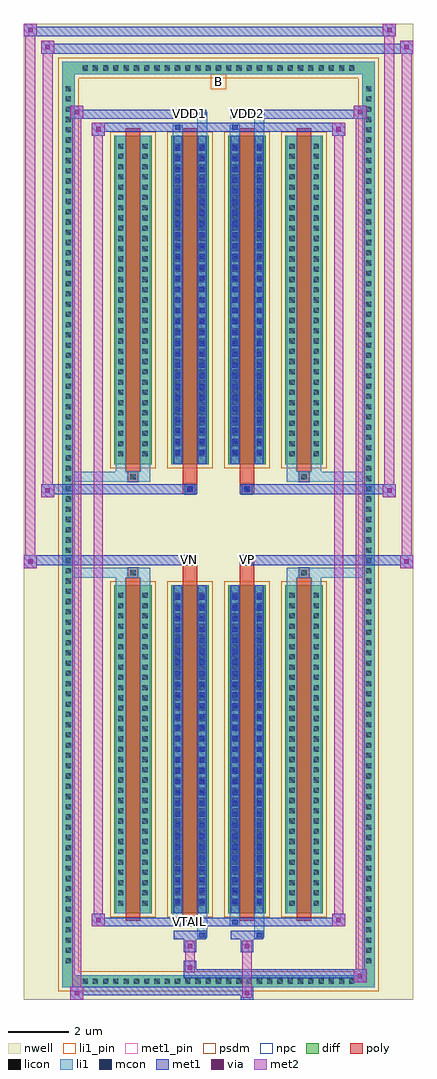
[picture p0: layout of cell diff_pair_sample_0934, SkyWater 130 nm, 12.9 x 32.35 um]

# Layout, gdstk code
import gdstk
lib = gdstk.Library(unit=1e-6, precision=5e-09)
def R(c, l, rs):  # rectangles x0, y0, x1, y1
    for r in rs: c.add(gdstk.rectangle(r[:2], r[2:], *l))
def A(c, l, x, y, w, h, nx, ny, dx, dy):  # array of equal rectangles
    R(c, l, [(x+i*dx, y+j*dy, x+i*dx+w, y+j*dy+h) for i in range(nx) for j in range(ny)])
def P(c, l, *ps):  # polygons
    for p in ps: c.add(gdstk.Polygon(p, *l))
nwell = (64, 20)
diff = (65, 20)
poly = (66, 20)
licon = (66, 44)
li1_pin = (67, 16)
li1 = (67, 20)
mcon = (67, 44)
met1_pin = (68, 16)
met1 = (68, 20)
via = (68, 44)
met2 = (69, 20)
psdm = (94, 20)
npc = (95, 20)

diff_pair_sample_0934 = lib.new_cell('diff_pair_sample_0934')
R(diff_pair_sample_0934, nwell, [(-6.45,-15.74,6.45,16.61), (-3.77,-13.93,-0.01,-0.815), (0.01,-13.93,3.77,-0.815), (-3.77,0.815,-0.01,13.93), (0.01,0.815,3.77,13.93)])
A(diff_pair_sample_0934, diff, -4.625, -15.34, 0.41, 0.41, 27, 2, 0.34, 30.27)
A(diff_pair_sample_0934, diff, -5.18, -14.655, 0.41, 0.41, 1, 86, 0, 0.34)
A(diff_pair_sample_0934, diff, 4.77, -14.655, 0.41, 0.41, 1, 86, 0, 0.34)
A(diff_pair_sample_0934, diff, -3.46, -12.885, 1.25, 10.88, 4, 2, 1.89, 14.89)
R(diff_pair_sample_0934, diff, [(-4.625,-15.34,4.625,-14.93), (-5.18,-14.655,-4.77,14.655), (4.77,-14.655,5.18,14.655), (-4.625,14.93,4.625,15.34)])
P(diff_pair_sample_0934, diff, [(5.18,15.34),(-5.18,15.34),(-5.18,-14.93),(-4.77,-14.93),(-4.77,14.93),(4.77,14.93),(4.77,-14.93),(-4.77,-14.93),(-5.18,-14.93),(-5.18,-15.34),(5.18,-15.34)])
A(diff_pair_sample_0934, poly, -3.07, -13.135, 0.47, 11.38, 4, 2, 1.89, 14.89)
R(diff_pair_sample_0934, poly, [(-3,-1.755,-2.67,-1.425), (-3,-1.755,-2.67,-1.425), (-1.18,-1.755,-0.71,-1.345), (0.71,-1.755,1.18,-1.345), (2.67,-1.755,3,-1.425), (2.67,-1.755,3,-1.425), (-1.18,-1.345,-0.71,-1.015), (-1.11,-1.345,-0.78,-1.015), (0.71,-1.345,1.18,-1.015), (0.78,-1.345,1.11,-1.015), (-1.18,1.015,-0.71,1.345), (-1.11,1.015,-0.78,1.345), (0.71,1.015,1.18,1.345), (0.78,1.015,1.11,1.345), (-1.18,1.345,-0.71,1.755), (0.71,1.345,1.18,1.755), (-3,1.425,-2.67,1.755), (-3,1.425,-2.67,1.755), (2.67,1.425,3,1.755), (2.67,1.425,3,1.755)])
A(diff_pair_sample_0934, licon, -4.505, -15.22, 0.17, 0.17, 27, 2, 0.34, 30.27)
A(diff_pair_sample_0934, licon, -5.06, -14.535, 0.17, 0.17, 1, 86, 0, 0.34)
A(diff_pair_sample_0934, licon, 4.89, -14.535, 0.17, 0.17, 1, 86, 0, 0.34)
A(diff_pair_sample_0934, licon, -3.32, -12.63, 0.17, 0.17, 1, 31, 0, 0.34)
A(diff_pair_sample_0934, licon, -2.52, -12.63, 0.17, 0.17, 1, 31, 0, 0.34)
A(diff_pair_sample_0934, licon, -1.43, -12.63, 0.17, 0.17, 1, 31, 0, 0.34)
A(diff_pair_sample_0934, licon, -0.63, -12.63, 0.17, 0.17, 1, 31, 0, 0.34)
A(diff_pair_sample_0934, licon, 0.46, -12.63, 0.17, 0.17, 1, 31, 0, 0.34)
A(diff_pair_sample_0934, licon, 1.26, -12.63, 0.17, 0.17, 1, 31, 0, 0.34)
A(diff_pair_sample_0934, licon, 2.35, -12.63, 0.17, 0.17, 1, 31, 0, 0.34)
A(diff_pair_sample_0934, licon, 3.15, -12.63, 0.17, 0.17, 1, 31, 0, 0.34)
A(diff_pair_sample_0934, licon, -3.32, 2.26, 0.17, 0.17, 1, 31, 0, 0.34)
A(diff_pair_sample_0934, licon, -2.52, 2.26, 0.17, 0.17, 1, 31, 0, 0.34)
A(diff_pair_sample_0934, licon, -1.43, 2.26, 0.17, 0.17, 1, 31, 0, 0.34)
A(diff_pair_sample_0934, licon, -0.63, 2.26, 0.17, 0.17, 1, 31, 0, 0.34)
A(diff_pair_sample_0934, licon, 0.46, 2.26, 0.17, 0.17, 1, 31, 0, 0.34)
A(diff_pair_sample_0934, licon, 1.26, 2.26, 0.17, 0.17, 1, 31, 0, 0.34)
A(diff_pair_sample_0934, licon, 2.35, 2.26, 0.17, 0.17, 1, 31, 0, 0.34)
A(diff_pair_sample_0934, licon, 3.15, 2.26, 0.17, 0.17, 1, 31, 0, 0.34)
R(diff_pair_sample_0934, licon, [(-2.92,-1.675,-2.75,-1.505), (2.75,-1.675,2.92,-1.505), (-1.03,-1.265,-0.86,-1.095), (0.86,-1.265,1.03,-1.095), (-1.03,1.095,-0.86,1.265), (0.86,1.095,1.03,1.265), (-2.92,1.505,-2.75,1.675), (2.75,1.505,2.92,1.675)])
R(diff_pair_sample_0934, li1_pin, [(-0.25,14.43,0.25,14.93)])
A(diff_pair_sample_0934, li1, -4.585, -15.3, 0.33, 0.33, 27, 2, 0.34, 30.27)
A(diff_pair_sample_0934, li1, -5.14, -14.615, 0.33, 0.33, 1, 86, 0, 0.34)
A(diff_pair_sample_0934, li1, 4.81, -14.615, 0.33, 0.33, 1, 86, 0, 0.34)
A(diff_pair_sample_0934, li1, -3.4, -12.71, 0.33, 0.33, 1, 31, 0, 0.34)
A(diff_pair_sample_0934, li1, -2.6, -12.71, 0.33, 0.33, 1, 31, 0, 0.34)
A(diff_pair_sample_0934, li1, -1.51, -12.71, 0.33, 0.33, 1, 31, 0, 0.34)
A(diff_pair_sample_0934, li1, -0.71, -12.71, 0.33, 0.33, 1, 31, 0, 0.34)
A(diff_pair_sample_0934, li1, 0.38, -12.71, 0.33, 0.33, 1, 31, 0, 0.34)
A(diff_pair_sample_0934, li1, 1.18, -12.71, 0.33, 0.33, 1, 31, 0, 0.34)
A(diff_pair_sample_0934, li1, 2.27, -12.71, 0.33, 0.33, 1, 31, 0, 0.34)
A(diff_pair_sample_0934, li1, 3.07, -12.71, 0.33, 0.33, 1, 31, 0, 0.34)
A(diff_pair_sample_0934, li1, -1.43, -12.57, 0.17, 0.17, 1, 29, 0, 0.36)
A(diff_pair_sample_0934, li1, -0.63, -12.57, 0.17, 0.17, 1, 29, 0, 0.36)
A(diff_pair_sample_0934, li1, 0.46, -12.57, 0.17, 0.17, 1, 29, 0, 0.36)
A(diff_pair_sample_0934, li1, 1.26, -12.57, 0.17, 0.17, 1, 29, 0, 0.36)
A(diff_pair_sample_0934, li1, -3.4, 2.18, 0.33, 0.33, 1, 31, 0, 0.34)
A(diff_pair_sample_0934, li1, -2.6, 2.18, 0.33, 0.33, 1, 31, 0, 0.34)
A(diff_pair_sample_0934, li1, -1.51, 2.18, 0.33, 0.33, 1, 31, 0, 0.34)
A(diff_pair_sample_0934, li1, -0.71, 2.18, 0.33, 0.33, 1, 31, 0, 0.34)
A(diff_pair_sample_0934, li1, 0.38, 2.18, 0.33, 0.33, 1, 31, 0, 0.34)
A(diff_pair_sample_0934, li1, 1.18, 2.18, 0.33, 0.33, 1, 31, 0, 0.34)
A(diff_pair_sample_0934, li1, 2.27, 2.18, 0.33, 0.33, 1, 31, 0, 0.34)
A(diff_pair_sample_0934, li1, 3.07, 2.18, 0.33, 0.33, 1, 31, 0, 0.34)
A(diff_pair_sample_0934, li1, -1.43, 2.32, 0.17, 0.17, 1, 29, 0, 0.36)
A(diff_pair_sample_0934, li1, -0.63, 2.32, 0.17, 0.17, 1, 29, 0, 0.36)
A(diff_pair_sample_0934, li1, 0.46, 2.32, 0.17, 0.17, 1, 29, 0, 0.36)
A(diff_pair_sample_0934, li1, 1.26, 2.32, 0.17, 0.17, 1, 29, 0, 0.36)
R(diff_pair_sample_0934, li1, [(-5.18,-15.34,-4.77,-14.93), (-5.18,-15.34,-4.77,-14.93), (-4.77,-15.34,4.77,-14.93), (4.77,-15.34,5.18,-14.93), (4.77,-15.34,5.18,-14.93), (-5.18,-14.93,-4.77,14.93), (4.77,-14.93,5.18,14.93), (-0.71,-13.69,-0.38,-12.885), (-0.63,-13.69,-0.46,-13.52), (1.18,-13.69,1.51,-12.885), (1.26,-13.69,1.43,-13.52), (-1.51,-13.26,-1.18,-12.885), (-1.43,-13.26,-1.26,-13.09), (0.38,-13.26,0.71,-12.885), (0.46,-13.26,0.63,-13.09), (-3.4,-12.885,-3.07,-2.005), (-2.6,-12.885,-2.27,-2.005), (-1.51,-12.885,-1.18,-2.005), (-0.71,-12.885,-0.38,-2.005), (0.38,-12.885,0.71,-2.005), (1.18,-12.885,1.51,-2.005), (2.27,-12.885,2.6,-2.005), (3.07,-12.885,3.4,-2.005), (-1.43,-12.57,-1.26,-2.32), (-0.63,-12.57,-0.46,-2.32), (0.46,-12.57,0.63,-2.32), (1.26,-12.57,1.43,-2.32), (-3.4,-2.005,-3.07,-1.425), (-2.6,-2.005,-2.27,-1.425), (2.27,-2.005,2.6,-1.425), (3.07,-2.005,3.4,-1.425), (-5.18,-1.755,-3,-1.425), (-3.4,-1.755,-3,-1.425), (-3,-1.755,-2.67,-1.425), (-2.67,-1.755,-2.27,-1.425), (2.27,-1.755,2.67,-1.425), (2.67,-1.755,3,-1.425), (2.67,-1.755,5.18,-1.425), (3,-1.755,3.4,-1.425), (-1.11,-1.345,-0.78,-1.015), (0.78,-1.345,1.11,-1.015), (-1.11,1.015,-0.78,1.345), (0.78,1.015,1.11,1.345), (-5.18,1.425,-3,1.755), (-3.4,1.425,-3,1.755), (-3.4,1.425,-3.07,2.005), (-3,1.425,-2.67,1.755), (-2.67,1.425,-2.27,1.755), (-2.6,1.425,-2.27,2.005), (2.27,1.425,2.67,1.755), (2.27,1.425,2.6,2.005), (2.67,1.425,3,1.755), (2.67,1.425,5.18,1.755), (3,1.425,3.4,1.755), (3.07,1.425,3.4,2.005), (-3.4,2.005,-3.07,12.885), (-2.6,2.005,-2.27,12.885), (-1.51,2.005,-1.18,12.885), (-0.71,2.005,-0.38,12.885), (0.38,2.005,0.71,12.885), (1.18,2.005,1.51,12.885), (2.27,2.005,2.6,12.885), (3.07,2.005,3.4,12.885), (-1.43,2.32,-1.26,12.57), (-0.63,2.32,-0.46,12.57), (0.46,2.32,0.63,12.57), (1.26,2.32,1.43,12.57), (-1.51,12.885,-1.18,13.26), (-0.71,12.885,-0.38,13.69), (0.38,12.885,0.71,13.26), (1.18,12.885,1.51,13.69), (-1.43,13.09,-1.26,13.26), (0.46,13.09,0.63,13.26), (-0.63,13.52,-0.46,13.69), (1.26,13.52,1.43,13.69), (-5.18,14.93,-4.77,15.34), (-5.18,14.93,-4.77,15.34), (-4.77,14.93,4.77,15.34), (4.77,14.93,5.18,15.34), (4.77,14.93,5.18,15.34)])
A(diff_pair_sample_0934, mcon, -1.43, -12.57, 0.17, 0.17, 1, 29, 0, 0.36)
A(diff_pair_sample_0934, mcon, -0.63, -12.57, 0.17, 0.17, 1, 29, 0, 0.36)
A(diff_pair_sample_0934, mcon, 0.46, -12.57, 0.17, 0.17, 1, 29, 0, 0.36)
A(diff_pair_sample_0934, mcon, 1.26, -12.57, 0.17, 0.17, 1, 29, 0, 0.36)
A(diff_pair_sample_0934, mcon, -1.43, 2.32, 0.17, 0.17, 1, 29, 0, 0.36)
A(diff_pair_sample_0934, mcon, -0.63, 2.32, 0.17, 0.17, 1, 29, 0, 0.36)
A(diff_pair_sample_0934, mcon, 0.46, 2.32, 0.17, 0.17, 1, 29, 0, 0.36)
A(diff_pair_sample_0934, mcon, 1.26, 2.32, 0.17, 0.17, 1, 29, 0, 0.36)
R(diff_pair_sample_0934, mcon, [(-0.63,-13.69,-0.46,-13.52), (1.26,-13.69,1.43,-13.52), (-1.43,-13.26,-1.26,-13.09), (0.46,-13.26,0.63,-13.09), (-1.03,-1.265,-0.86,-1.095), (0.86,-1.265,1.03,-1.095), (-1.03,1.095,-0.86,1.265), (0.86,1.095,1.03,1.265), (-1.43,13.09,-1.26,13.26), (0.46,13.09,0.63,13.26), (-0.63,13.52,-0.46,13.69), (1.26,13.52,1.43,13.69)])
R(diff_pair_sample_0934, met1_pin, [(-1.08,-13.3,-0.81,-13.03), (-1.08,-1.285,-0.81,-1.015), (0.81,-1.285,1.08,-1.015), (-1.08,13.48,-0.81,13.75), (0.81,13.48,1.08,13.75)])
A(diff_pair_sample_0934, met1, -1.49, -12.63, 0.29, 0.29, 1, 29, 0, 0.36)
A(diff_pair_sample_0934, met1, -0.69, -12.63, 0.29, 0.29, 1, 29, 0, 0.36)
A(diff_pair_sample_0934, met1, 0.4, -12.63, 0.29, 0.29, 1, 29, 0, 0.36)
A(diff_pair_sample_0934, met1, 1.2, -12.63, 0.29, 0.29, 1, 29, 0, 0.36)
A(diff_pair_sample_0934, met1, -1.49, 2.26, 0.29, 0.29, 1, 29, 0, 0.36)
A(diff_pair_sample_0934, met1, -0.69, 2.26, 0.29, 0.29, 1, 29, 0, 0.36)
A(diff_pair_sample_0934, met1, 0.4, 2.26, 0.29, 0.29, 1, 29, 0, 0.36)
A(diff_pair_sample_0934, met1, 1.2, 2.26, 0.29, 0.29, 1, 29, 0, 0.36)
R(diff_pair_sample_0934, met1, [(-4.91,-15.74,-4.48,-15.31), (0.73,-15.74,1.16,-15.31), (-4.91,-15.6,1.16,-15.31), (4.48,-15.17,4.91,-14.74), (-1.16,-15.03,4.91,-14.74), (-1.16,-14.89,-0.73,-14.46), (-1.16,-14.18,-0.73,-13.75), (0.73,-14.18,1.16,-13.75), (-1.49,-13.75,-0.4,-13.46), (-0.69,-13.75,-0.4,-13.46), (0.4,-13.75,1.49,-13.46), (1.2,-13.75,1.49,-13.46), (-4.2,-13.32,-3.77,-12.89), (-4.2,-13.32,-1.49,-13.03), (-1.49,-13.32,-1.2,-13.03), (-1.49,-13.32,-0.4,-13.03), (-0.4,-13.32,0.4,-13.03), (0.4,-13.32,0.69,-13.03), (0.4,-13.32,1.49,-13.03), (1.49,-13.32,4.2,-13.03), (3.77,-13.32,4.2,-12.89), (-1.49,-12.885,-1.2,-2.005), (-0.69,-12.885,-0.4,-2.005), (0.4,-12.885,0.69,-2.005), (1.2,-12.885,1.49,-2.005), (-6.45,-1.445,-6.02,-1.015), (6.02,-1.445,6.45,-1.015), (-6.45,-1.345,-0.71,-1.015), (-1.18,-1.345,-0.71,-1.015), (0.71,-1.345,1.18,-1.015), (0.71,-1.345,6.45,-1.015), (-1.09,-1.325,-0.8,-1.035), (0.8,-1.325,1.09,-1.035), (-5.88,0.915,-5.45,1.345), (5.45,0.915,5.88,1.345), (-5.88,1.015,-1.18,1.345), (-1.18,1.015,-0.71,1.345), (0.71,1.015,1.18,1.345), (1.18,1.015,5.88,1.345), (-1.09,1.035,-0.8,1.325), (0.8,1.035,1.09,1.325), (-1.49,2.005,-1.2,12.885), (-0.69,2.005,-0.4,12.885), (0.4,2.005,0.69,12.885), (1.2,2.005,1.49,12.885), (-4.2,12.89,-3.77,13.32), (3.77,12.89,4.2,13.32), (-4.2,13.03,-1.49,13.32), (-1.49,13.03,-1.2,13.32), (-1.49,13.03,-0.4,13.32), (-0.4,13.03,0.4,13.32), (0.4,13.03,0.69,13.32), (0.4,13.03,1.49,13.32), (1.49,13.03,4.2,13.32), (-4.91,13.46,-4.48,13.89), (-4.91,13.46,-1.49,13.75), (-1.49,13.46,-0.4,13.75), (-0.69,13.46,-0.4,13.75), (0.4,13.46,1.49,13.75), (1.2,13.46,1.49,13.75), (1.49,13.46,4.91,13.75), (4.48,13.46,4.91,13.89), (-5.88,15.61,-5.45,16.04), (-5.88,15.61,-3.77,15.94), (-3.77,15.61,3.77,15.94), (3.77,15.61,6.45,15.94), (6.02,15.61,6.45,16.04), (-6.45,16.18,-6.02,16.61), (-6.45,16.18,-3.77,16.51), (-3.77,16.18,3.77,16.51), (3.77,16.18,5.88,16.51), (5.45,16.18,5.88,16.61)])
R(diff_pair_sample_0934, via, [(-4.77,-15.6,-4.62,-15.45), (0.87,-15.6,1.02,-15.45), (4.62,-15.03,4.77,-14.88), (-1.02,-14.75,-0.87,-14.6), (-1.02,-14.04,-0.87,-13.89), (0.87,-14.04,1.02,-13.89), (-4.06,-13.18,-3.91,-13.03), (3.91,-13.18,4.06,-13.03), (-6.31,-1.305,-6.16,-1.155), (6.16,-1.305,6.31,-1.155), (-5.74,1.055,-5.59,1.205), (5.59,1.055,5.74,1.205), (-4.06,13.03,-3.91,13.18), (3.91,13.03,4.06,13.18), (-4.77,13.6,-4.62,13.75), (4.62,13.6,4.77,13.75), (-5.74,15.75,-5.59,15.9), (6.16,15.75,6.31,15.9), (-6.31,16.32,-6.16,16.47), (5.59,16.32,5.74,16.47)])
R(diff_pair_sample_0934, met2, [(-4.91,-15.74,-4.48,-15.31), (-4.84,-15.74,-4.55,13.89), (-4.55,-15.74,-4.48,-15.31), (-4.86,-15.69,-4.53,-15.36), (0.78,-15.69,1.11,-15.36), (0.78,-15.36,1.11,-14.13), (4.48,-15.17,4.91,-14.74), (4.55,-15.17,4.84,13.89), (4.84,-15.17,4.91,-14.74), (4.53,-15.12,4.86,-14.79), (-1.11,-14.84,-0.78,-14.51), (-1.11,-14.51,-0.78,-14.13), (-1.11,-14.13,-0.78,-13.8), (0.78,-14.13,1.11,-13.8), (-4.2,-13.32,-3.77,-12.89), (-4.13,-13.32,-3.84,13.32), (-3.84,-13.32,-3.77,-12.89), (3.77,-13.32,4.2,-12.89), (3.84,-13.32,4.13,13.32), (4.13,-13.32,4.2,-12.89), (-4.15,-13.27,-3.82,-12.94), (3.82,-13.27,4.15,-12.94), (-6.45,-1.445,-6.02,-1.015), (-6.4,-1.445,-6.07,16.61), (-6.07,-1.445,-6.02,-1.015), (6.02,-1.445,6.45,-1.015), (6.07,-1.445,6.4,16.04), (6.4,-1.445,6.45,-1.015), (-6.4,-1.395,-6.07,-1.065), (6.07,-1.395,6.4,-1.065), (-5.88,0.915,-5.45,1.345), (-5.83,0.915,-5.5,16.04), (-5.5,0.915,-5.45,1.345), (5.45,0.915,5.88,1.345), (5.5,0.915,5.83,16.61), (5.83,0.915,5.88,1.345), (-5.83,0.965,-5.5,1.295), (5.5,0.965,5.83,1.295), (-4.2,12.89,-3.77,13.32), (-3.84,12.89,-3.77,13.32), (3.77,12.89,4.2,13.32), (4.13,12.89,4.2,13.32), (-4.15,12.94,-3.82,13.27), (3.82,12.94,4.15,13.27), (-4.91,13.46,-4.48,13.89), (-4.55,13.46,-4.48,13.89), (4.48,13.46,4.91,13.89), (4.84,13.46,4.91,13.89), (-4.86,13.51,-4.53,13.84), (4.53,13.51,4.86,13.84), (-5.88,15.61,-5.45,16.04), (-5.5,15.61,-5.45,16.04), (6.02,15.61,6.45,16.04), (6.4,15.61,6.45,16.04), (-5.83,15.66,-5.5,15.99), (6.07,15.66,6.4,15.99), (-6.45,16.18,-6.02,16.61), (-6.07,16.18,-6.02,16.61), (5.45,16.18,5.88,16.61), (5.83,16.18,5.88,16.61), (-6.4,16.23,-6.07,16.56), (5.5,16.23,5.83,16.56)])
A(diff_pair_sample_0934, psdm, -3.59, -13.015, 1.51, 11.14, 4, 2, 1.89, 14.89)
P(diff_pair_sample_0934, psdm, [(5.31,15.47),(-5.31,15.47),(-5.31,-14.8),(-4.64,-14.8),(-4.64,14.8),(4.64,14.8),(4.64,-14.8),(-4.64,-14.8),(-5.31,-14.8),(-5.31,-15.47),(5.31,-15.47)])
R(diff_pair_sample_0934, npc, [(-3.02,-1.775,-2.65,-1.405), (2.65,-1.775,3.02,-1.405), (-1.13,-1.365,-0.76,-0.995), (0.76,-1.365,1.13,-0.995), (-1.13,0.995,-0.76,1.365), (0.76,0.995,1.13,1.365), (-3.02,1.405,-2.65,1.775), (2.65,1.405,3.02,1.775)])
diff_pair_sample_0934.add(gdstk.Label('VTAIL', (-0.945,-13.165), layer=68, texttype=5))
diff_pair_sample_0934.add(gdstk.Label('VN', (-0.945,-1.15), layer=68, texttype=5))
diff_pair_sample_0934.add(gdstk.Label('VP', (0.945,-1.15), layer=68, texttype=5))
diff_pair_sample_0934.add(gdstk.Label('B', (0,14.68), layer=67, texttype=5))
diff_pair_sample_0934.add(gdstk.Label('VDD2', (0.945,13.615), layer=68, texttype=5))
diff_pair_sample_0934.add(gdstk.Label('VDD1', (-0.945,13.615), layer=68, texttype=5))

lib.write_gds('diff_pair_sample_0934.gds')
